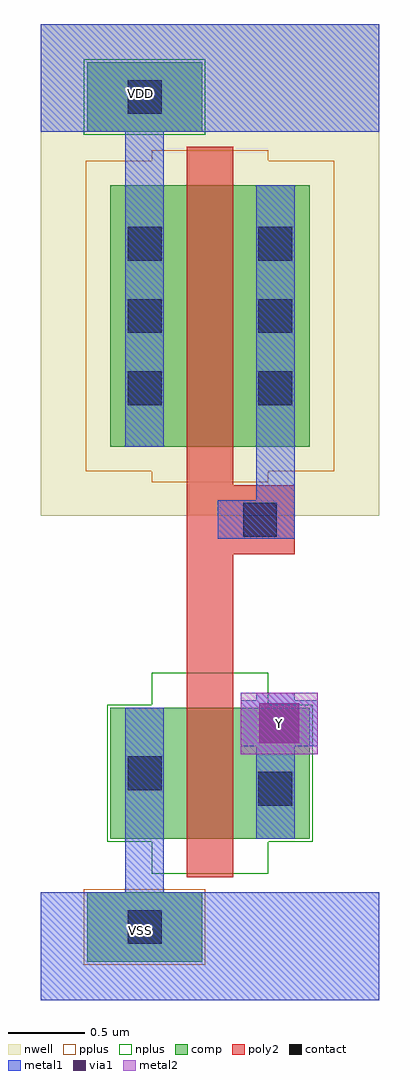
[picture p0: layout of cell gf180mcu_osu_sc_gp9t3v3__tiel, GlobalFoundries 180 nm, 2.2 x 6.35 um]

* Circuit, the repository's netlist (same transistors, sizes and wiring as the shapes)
* Copyright 2022 Google LLC
*
* Licensed under the Apache License, Version 2.0 (the "License");
* you may not use this file except in compliance with the License.
* You may obtain a copy of the License at
*
*      http://www.apache.org/licenses/LICENSE-2.0
*
* Unless required by applicable law or agreed to in writing, software
* distributed under the License is distributed on an "AS IS" BASIS,
* WITHOUT WARRANTIES OR CONDITIONS OF ANY KIND, either express or implied.
* See the License for the specific language governing permissions and
* limitations under the License.

* NGSPICE file created from gf180mcu_osu_sc_gp9t3v3__tiel.ext - technology: gf180mcuC

.subckt gf180mcu_osu_sc_gp9t3v3__tiel Y VDD VSS
X0 a_19_16# a_19_16# VDD VDD pfet_03p3 w=1.7u l=0.3u
X1 Y a_19_16# VSS VSS nfet_03p3 w=0.85u l=0.3u
.ends

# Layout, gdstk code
import gdstk
lib = gdstk.Library(unit=1e-6, precision=1e-09)
def R(c, l, rs):  # rectangles x0, y0, x1, y1
    for r in rs: c.add(gdstk.rectangle(r[:2], r[2:], *l))
def A(c, l, x, y, w, h, nx, ny, dx, dy):  # array of equal rectangles
    R(c, l, [(x+i*dx, y+j*dy, x+i*dx+w, y+j*dy+h) for i in range(nx) for j in range(ny)])
nwell = (21, 0)
comp = (22, 0)
poly2 = (30, 0)
pplus = (31, 0)
nplus = (32, 0)
contact = (33, 0)
metal1 = (34, 0)
via1 = (35, 0)
metal2 = (36, 0)

gf180mcu_osu_sc_gp9t3v3_ = lib.new_cell('gf180mcu_osu_sc_gp9t3v3__tiel')
R(gf180mcu_osu_sc_gp9t3v3_, nwell, [(0,3.15,2.2,6.35)])
R(gf180mcu_osu_sc_gp9t3v3_, comp, [(0.3,0.25,1.05,0.7), (0.45,1.05,1.75,1.9), (0.45,3.6,1.75,5.3), (0.3,5.65,1.05,6.1)])
R(gf180mcu_osu_sc_gp9t3v3_, poly2, [(0.95,0.8,1.25,2.9), (0.95,2.9,1.65,3.35), (0.95,3.35,1.25,5.55)])
R(gf180mcu_osu_sc_gp9t3v3_, pplus, [(0.28,0.23,1.07,0.72), (0.72,3.37,1.48,3.44), (0.29,3.44,1.91,5.46), (0.72,5.46,1.48,5.53)])
R(gf180mcu_osu_sc_gp9t3v3_, nplus, [(0.72,0.82,1.48,1.03), (0.43,1.03,1.77,1.92), (0.72,1.92,1.48,2.13), (0.28,5.63,1.07,6.12)])
A(gf180mcu_osu_sc_gp9t3v3_, contact, 0.565, 3.87, 0.22, 0.22, 1, 3, 0, 0.47)
A(gf180mcu_osu_sc_gp9t3v3_, contact, 1.415, 3.87, 0.22, 0.22, 1, 3, 0, 0.47)
R(gf180mcu_osu_sc_gp9t3v3_, contact, [(0.565,0.365,0.785,0.585), (1.415,1.265,1.635,1.485), (0.565,1.365,0.785,1.585), (1.315,3.015,1.535,3.235), (0.565,5.765,0.785,5.985)])
R(gf180mcu_osu_sc_gp9t3v3_, metal1, [(0,0,2.2,0.7), (0.55,0.7,0.8,1.9), (1.4,1.05,1.65,1.65), (1.3,1.65,1.8,1.95), (1.4,1.95,1.65,2), (1.15,3,1.65,3.25), (1.4,3.25,1.65,5.3), (0.55,3.6,0.8,5.65), (0,5.65,2.2,6.35)])
R(gf180mcu_osu_sc_gp9t3v3_, via1, [(1.42,1.67,1.68,1.93)])
R(gf180mcu_osu_sc_gp9t3v3_, metal2, [(1.3,1.6,1.8,2)])
gf180mcu_osu_sc_gp9t3v3_.add(gdstk.Label('Y', (1.55,1.8), layer=36, texttype=10))
gf180mcu_osu_sc_gp9t3v3_.add(gdstk.Label('VDD', (0.65,5.9), layer=34, texttype=10))
gf180mcu_osu_sc_gp9t3v3_.add(gdstk.Label('VSS', (0.65,0.45), layer=34, texttype=10))

lib.write_gds('gf180mcu_osu_sc_gp9t3v3__tiel.gds')
